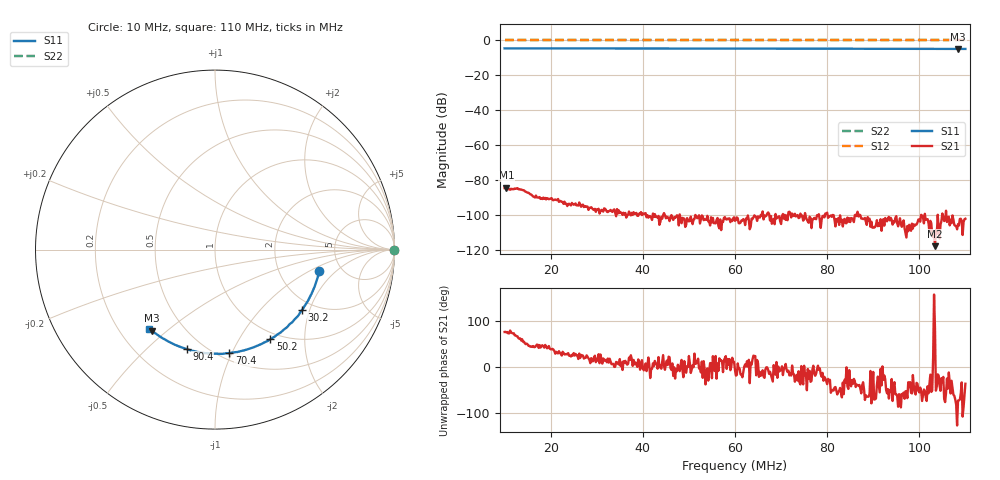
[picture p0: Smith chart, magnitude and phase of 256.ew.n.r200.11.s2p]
! Anritsu VNA Master:  Model: MS2036C/10/77
! SN:  1601066
! /card0/usr/256.ew.n.r200.11.s2p
! Existing Calibration Information:
! TYPE:  Current Settings,  Active Cal Settings
! TIME:  12/19/2017 02:59:00 PM,  12/19/2017 02:53:44 PM
! INTERNAL TEMP:  46.5 C,  46.3 C
! # POINTS:  501,  501
! START FREQ:  10.000 MHz,  10.000 MHz
! STOP FREQ:  110.000 MHz,  110.000 MHz
! SOURCE POWER:  High,  High
! IFBW:  100 Hz,  100 Hz
! AVG FACTOR:  1 ,  1
! REF PLANE 1:  0 mm,  0 mm
! REF PLANE 2:  0 mm,  0 mm
! CAL TYPE:  Full S11,  Full S11
! CAL METHOD:  SOLT,  SOLT
! CAL LINE TYPE:  Coax,  Coax
! DUT PORT 1:  N-Conn(F),  N-Conn(F)
! DUT PORT 2:  K-Conn(F),  K-Conn(F)
! CAL STATUS:  OK: Accuracy High,  --
# GHZ S DB R 50.0
! FREQ.GHZ  S11DB  S11A  S21DB  S21A  S12DB  S12A  S22DB  S22A
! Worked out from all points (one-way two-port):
!   501 points, 10 MHz to 110 MHz, reference 50 ohm
!   highest |S21| = -84.33 dB at 10.4 MHz (marker M1); lowest = -117.9 dB at 103.4 MHz (marker M2)
!   lowest |S11| = -4.9 dB at 108.4 MHz (marker M3), VSWR 3.67, Z = 16.6 - j22.3 ohm
!   |S11| at or under -10 dB: nowhere
!   |S22| runs from 0.0 to 0.0 dB; largest |S21 - S12| = 1
!   S11 on the Smith chart (normalised r, x): 10 MHz: 3.42, -1.23; 30.2 MHz: 1.72, -1.77; 50.2 MHz: 0.90, -1.37; 70.4 MHz: 0.56, -0.98; 90.4 MHz: 0.40, -0.67; 110 MHz: 0.33, -0.43
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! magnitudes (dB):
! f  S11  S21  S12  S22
! 10 MHz  -4.5  -84.6  0.0  0.0
! 10.4 MHz  -4.5  -84.3  0.0  0.0
! 26.8 MHz  -4.6  -94.2  0.0  0.0
! 30.2 MHz  -4.6  -97.1  0.0  0.0
! 33.2 MHz  -4.6  -97.9  0.0  0.0
! 35.4 MHz  -4.6  -98.9  0.0  0.0
! 37.2 MHz  -4.6  -99.7  0.0  0.0
! 38.8 MHz  -4.6  -100.5  0.0  0.0
! 40.6 MHz  -4.6  -99.0  0.0  0.0
! 43.4 MHz  -4.6  -100.6  0.0  0.0
! 50.2 MHz  -4.6  -103.4  0.0  0.0
! 51.8 MHz  -4.6  -101.9  0.0  0.0
! 53.4 MHz  -4.6  -102.4  0.0  0.0
! 60 MHz  -4.7  -103.4  0.0  0.0
! 70.4 MHz  -4.7  -99.5  0.0  0.0
! 76.8 MHz  -4.7  -102.6  0.0  0.0
! 81.6 MHz  -4.7  -102.9  0.0  0.0
! 90.4 MHz  -4.8  -106.9  0.0  0.0
! 93.4 MHz  -4.8  -101.1  0.0  0.0
! 103.4 MHz  -4.8  -117.9  0.0  0.0
! 108.4 MHz  -4.9  -105.3  0.0  0.0
! 110 MHz  -4.9  -102.2  0.0  0.0
